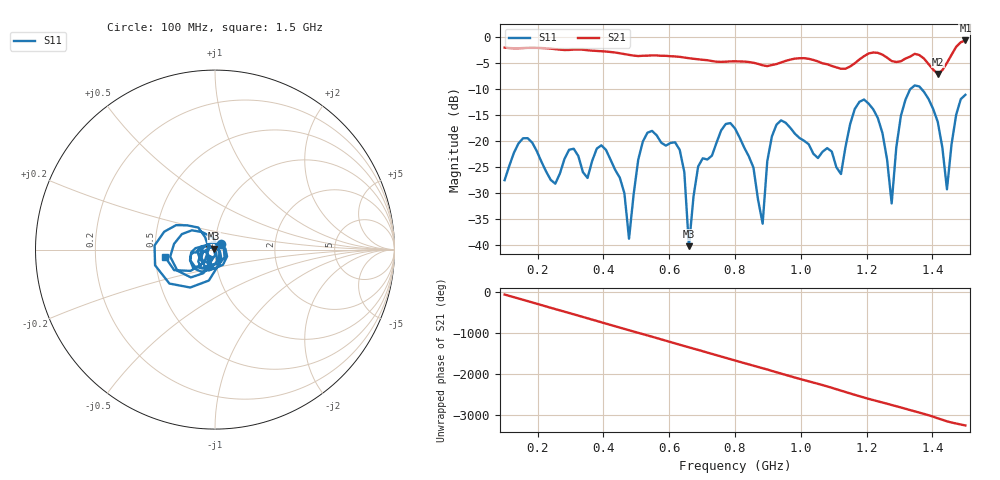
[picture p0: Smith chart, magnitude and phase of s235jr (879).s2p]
! NanoVNA-App
! Date: 2025-09-25 15:11:01
! Start: 100MHz Stop: 1,5GHz Points: 101
! S-Parameter data: F S11 S21 S12 S22
# Hz S RI R 50
!  Frequency  S11_Real  S11_Imag  S21_Real  S21_Imag  S12_Real  S12_Imag  S22_Real  S22_Imag
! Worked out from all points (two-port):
!   101 points, 100 MHz to 1.5 GHz, reference 50 ohm
!   highest |S21| = -0.59 dB at 1.5 GHz (marker M1); lowest = -7.0 dB at 1.416 GHz (marker M2)
!   |S21| within 3 dB of the highest: start of sweep to 505.8 MHz; 506.3 MHz to 598.2 MHz (91.92 MHz wide, 16.6 % of centre) (the widest 2 of 5)
!   lowest |S11| = -40.2 dB at 660 MHz (marker M3), VSWR 1.02, Z = 49.2 + j0.554 ohm
!   |S11| at or under -10 dB: start of sweep to 1.332 GHz; 1.368 GHz to end of sweep
!   S12 and S22 are empty: the file has one direction only
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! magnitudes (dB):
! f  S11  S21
! 100 MHz  -27.5  -2.0
! 156 MHz  -19.4  -2.0
! 338 MHz  -25.9  -2.4
! 408 MHz  -21.6  -2.7
! 478 MHz  -38.7  -3.4
! 520 MHz  -20.0  -3.5
! 576 MHz  -20.3  -3.5
! 632 MHz  -21.6  -3.7
! 660 MHz  -40.2  -4.0
! 688 MHz  -24.8  -4.2
! 800 MHz  -17.5  -4.6
! 884 MHz  -35.8  -5.4
! 926 MHz  -16.8  -5.1
! 1.038 GHz  -22.4  -4.3
! 1.122 GHz  -26.3  -6.0
! 1.192 GHz  -11.9  -3.6
! 1.248 GHz  -18.4  -3.3
! 1.276 GHz  -31.9  -4.5
! 1.332 GHz  -10.0  -3.7
! 1.416 GHz  -16.2  -7.0
! 1.444 GHz  -29.2  -4.9
! 1.5 GHz  -11.0  -0.6
